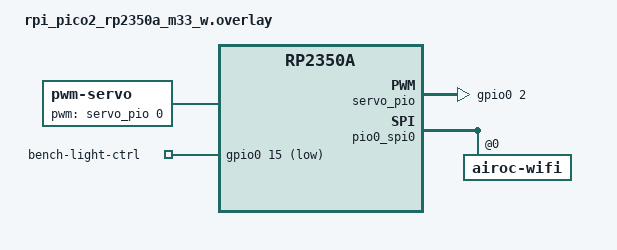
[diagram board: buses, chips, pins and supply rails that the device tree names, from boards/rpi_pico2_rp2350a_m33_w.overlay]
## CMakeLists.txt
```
# SPDX-License-Identifier: Apache-2.0
cmake_minimum_required(VERSION 3.20.0)

find_package(Zephyr REQUIRED HINTS $ENV{ZEPHYR_BASE})
project(auto-damper)

FILE(GLOB_RECURSE app_sources src/*.c)
target_sources(app PRIVATE ${app_sources})
target_include_directories(app PRIVATE include)

# Linker section for HTTP resources
zephyr_linker_sources(SECTIONS sections-rom.ld)

# Web resources (gzip-compressed, embedded in firmware)
set(WEB_DIR ${CMAKE_CURRENT_SOURCE_DIR}/web)
set(GEN_DIR ${ZEPHYR_BINARY_DIR}/include/generated/)

# index.html — always revalidated (references hashed assets)
if(EXISTS ${WEB_DIR}/index.html)
  generate_inc_file_for_target(app
    ${WEB_DIR}/index.html ${GEN_DIR}/index.html.gz.inc --gzip)
  target_compile_definitions(app PRIVATE HAS_INDEX_HTML=1)
else()
  target_compile_definitions(app PRIVATE HAS_INDEX_HTML=0)
endif()

# Hashed assets — glob web/assets/ and generate inc files + manifest
file(GLOB WEB_ASSETS ${WEB_DIR}/assets/*)

set(ASSET_MANIFEST "")
set(ASSET_INDEX 0)

foreach(ASSET_FILE ${WEB_ASSETS})
  get_filename_component(ASSET_NAME ${ASSET_FILE} NAME)
  string(MAKE_C_IDENTIFIER ${ASSET_NAME} ASSET_ID)

  generate_inc_file_for_target(app
    ${ASSET_FILE} ${GEN_DIR}/asset_${ASSET_ID}.gz.inc --gzip)

  string(APPEND ASSET_MANIFEST
    "static const uint8_t asset_${ASSET_ID}_data[] = {\n"
    "#include \"asset_${ASSET_ID}.gz.inc\"\n"
    "};\n\n")

  # Determine content type from extension
  get_filename_component(ASSET_EXT ${ASSET_FILE} LAST_EXT)
  if(ASSET_EXT STREQUAL ".js")
    set(CONTENT_TYPE "application/javascript")
  elseif(ASSET_EXT STREQUAL ".css")
    set(CONTENT_TYPE "text/css")
  elseif(ASSET_EXT STREQUAL ".svg")
    set(CONTENT_TYPE "image/svg+xml")
  elseif(ASSET_EXT STREQUAL ".ico")
    set(CONTENT_TYPE "image/x-icon")
  elseif(ASSET_EXT STREQUAL ".woff2")
    set(CONTENT_TYPE "font/woff2")
  else()
    set(CONTENT_TYPE "application/octet-stream")
  endif()

  string(APPEND ASSET_ENTRIES
    "  { \"/assets/${ASSET_NAME}\", asset_${ASSET_ID}_data, sizeof(asset_${ASSET_ID}_data), \"${CONTENT_TYPE}\" },\n")

  math(EXPR ASSET_INDEX "${ASSET_INDEX} + 1")
endforeach()

# Generate the asset manifest header
file(WRITE ${GEN_DIR}/web_assets.h
  "/* Auto-generated — do not edit */\n"
  "#ifndef WEB_ASSETS_H\n"
  "#define WEB_ASSETS_H\n\n"
  "#include <stdint.h>\n"
  "#include <stddef.h>\n\n"
  "struct web_asset {\n"
  "  const char *path;\n"
  "  const uint8_t *data;\n"
  "  size_t len;\n"
  "  const char *content_type;\n"
  "};\n\n"
  "${ASSET_MANIFEST}"
  "static const struct web_asset web_assets[] = {\n"
  "${ASSET_ENTRIES}"
  "};\n\n"
  "#endif\n")

target_compile_definitions(app PRIVATE WEB_ASSET_COUNT=${ASSET_INDEX})

# MCUboot bootutil_public library — provides boot_set_pending /
# boot_write_img_confirmed / boot_is_img_confirmed for the OTA shell
# command and the runtime confirm logic in Phase 5. The library is
# created by bootloader/mcuboot/boot/bootutil/zephyr/CMakeLists.txt
# when CONFIG_MCUBOOT_BOOTUTIL_LIB=y.
if(CONFIG_MCUBOOT_BOOTUTIL_LIB)
  target_link_libraries(app PRIVATE MCUBOOT_BOOTUTIL)
endif()
```

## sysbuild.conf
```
# Enable MCUboot as a partner image. west build --sysbuild will build
# MCUboot alongside the application, sign the application image with
# imgtool, and produce signed.bin + signed.confirmed.bin for the
# initial USB/probe flash.
SB_CONFIG_BOOTLOADER_MCUBOOT=y

# Sign the application with the ed25519 key in keys/. The same PEM
# file is consumed by both imgtool (private half, for signing) and
# the MCUboot build (public half, baked into the bootloader as the
# trusted verifier key).
#
# ${WEST_TOPDIR} is expanded by MCUboot's CMakeLists via
# string(CONFIGURE) and resolves to the west workspace root on any
# host (local dev, CI runner, anyone's machine). MCUboot's per-image
# APPLICATION_CONFIG_DIR is its own source tree, not the app's, so a
# bare relative path wouldn't find our keys/ dir.
SB_CONFIG_BOOT_SIGNATURE_KEY_FILE="${WEST_TOPDIR}/apps/auto-damper/keys/root-ed25519.pem"
SB_CONFIG_BOOT_SIGNATURE_TYPE_ED25519=y
```

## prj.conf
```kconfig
# SPDX-License-Identifier: Apache-2.0

# Hardware
CONFIG_GPIO=y
CONFIG_PWM=y
CONFIG_PIO_RPI_PICO=y

# Serial
CONFIG_SERIAL=y

# Shell
CONFIG_SHELL=y
CONFIG_KERNEL_SHELL=y

# State machine framework
CONFIG_SMF=y

# Logging
CONFIG_LOG=y
CONFIG_SHELL_LOG_BACKEND=y
CONFIG_LOG_RUNTIME_FILTERING=y
CONFIG_LOG_DEFAULT_LEVEL=3

# zbus
CONFIG_ZBUS=y
CONFIG_ZBUS_CHANNEL_NAME=y
CONFIG_ZBUS_OBSERVER_NAME=y
CONFIG_ZBUS_MSG_SUBSCRIBER=y
CONFIG_HEAP_MEM_POOL_SIZE=65536
CONFIG_ZBUS_MSG_SUBSCRIBER_NET_BUF_POOL_SIZE=16

# MCUboot — bootloader-aware. Image header offset and the
# bootutil public library (boot_set_pending / boot_write_img_confirmed /
# boot_is_img_confirmed) are required for swap requests and confirm.
CONFIG_BOOTLOADER_MCUBOOT=y
CONFIG_MCUBOOT_BOOTLOADER_MODE_SWAP_USING_OFFSET=y
CONFIG_MCUBOOT_BOOTUTIL_LIB=y
# Produce zephyr.signed.confirmed.{bin,hex} — same as signed.* but
# with the MCUboot trailer pre-marked as confirmed. This is what we
# flash to slot0 on initial provisioning so MCUboot recognizes the
# slot as valid and boots it cleanly (without it, "magic=unset" and
# MCUboot reports "Boot source: none").
CONFIG_MCUBOOT_GENERATE_CONFIRMED_IMAGE=y
# bootutil_public uses flash_area_* — needs the flash map subsystem.
CONFIG_FLASH_MAP=y
CONFIG_STREAM_FLASH=y

# Reboot — needed by the ota shell command after marking the swap.
CONFIG_REBOOT=y

# OTA: raw TLS socket for fetching signed images from GitHub Releases.
# Image authenticity comes from MCUboot's ed25519 signature verification;
# TLS just protects against connection hijacking during the download
# (we use TLS_PEER_VERIFY_NONE). We avoid http_client because its recv
# buffer compaction makes capturing the Location header from a redirect
# response unreliable — see samples/net/sockets/big_http_download.
CONFIG_NET_SOCKETS_SOCKOPT_TLS=y
CONFIG_NET_SOCKETS_TLS_MAX_CONTEXTS=2
# No session caching — we make one TLS connection per OTA op. Without
# this, sockets_tls references mbedtls_ssl_{get,set}_session which
# require MBEDTLS_SSL_SESSION_TICKETS (extra flash for no benefit).
CONFIG_NET_SOCKETS_TLS_MAX_CLIENT_SESSION_COUNT=0
CONFIG_NET_SOCKETS_TLS_MAX_SESSION_CONTEXTS=2
CONFIG_TLS_CREDENTIALS=y
CONFIG_MBEDTLS=y
CONFIG_MBEDTLS_BUILTIN=y
CONFIG_MBEDTLS_ENABLE_HEAP=y
CONFIG_MBEDTLS_HEAP_SIZE=65536
CONFIG_MBEDTLS_SSL_MAX_CONTENT_LEN=16384
# Pull in actual TLS protocol support (Kconfig MBEDTLS_TLS_VERSION_1_2
# is deprecated; PROTO_TLS1_2 is the canonical one that gates the
# MBEDTLS_SSL_CLI_C symbols sockets_tls relies on).
CONFIG_MBEDTLS_SSL_PROTO_TLS1_2=y
# Cipher suites GitHub and its CDN (objects.githubusercontent.com)
# negotiate. ECDHE-ECDSA for the github.com edge (ECDSA P-256 cert),
# ECDHE-RSA as a fallback if the CDN uses RSA leaf certs.
CONFIG_MBEDTLS_CIPHERSUITE_TLS_ECDHE_ECDSA_WITH_AES_128_GCM_SHA256=y
CONFIG_MBEDTLS_CIPHERSUITE_TLS_ECDHE_RSA_WITH_AES_128_GCM_SHA256=y
# DFU image manager streams writes into slot1 with progressive erase.
CONFIG_IMG_MANAGER=y
CONFIG_IMG_ERASE_PROGRESSIVELY=y
# DNS resolver — needed to resolve github.com / objects.githubusercontent.com.
CONFIG_DNS_RESOLVER=y
CONFIG_DNS_RESOLVER_AUTO_INIT=y
CONFIG_DNS_SERVER_IP_ADDRESSES=y
CONFIG_DNS_SERVER1="1.1.1.1"
CONFIG_DNS_SERVER2="8.8.8.8"

# Bluetooth
CONFIG_BT=y
CONFIG_BT_CENTRAL=y
CONFIG_BT_GATT_CLIENT=y
CONFIG_BT_GATT_AUTO_DISCOVER_CCC=y
CONFIG_BT_DEVICE_NAME="auto-damper"
CONFIG_BT_MAX_CONN=10
CONFIG_BT_LOG_LEVEL_INF=y

# CYW43439 BT shared-bus patches + Pico SDK firmware blobs
CONFIG_ZEPHYR_CYW43_BT=y

# BT buffers — shared-bus transport is slower than UART, need more headroom
CONFIG_BT_L2CAP_TX_BUF_COUNT=12
CONFIG_BT_BUF_ACL_TX_COUNT=12
CONFIG_BT_BUF_ACL_RX_COUNT_EXTRA=8
CONFIG_BT_BUF_EVT_RX_COUNT=16
CONFIG_BT_BUF_ACL_RX_SIZE=200

# Flash Storage
CONFIG_FLASH=y

# NVS for persistent config
CONFIG_NVS=y
CONFIG_NVS_DATA_CRC=y

# Networking
CONFIG_NETWORKING=y
CONFIG_NET_IPV4=y
CONFIG_NET_IPV6=n
CONFIG_NET_TCP=y
CONFIG_NET_SOCKETS=y
CONFIG_POSIX_API=y
CONFIG_NET_DHCPV4=y
CONFIG_TEST_RANDOM_GENERATOR=y

# Stack Sizes (WiFi + HTTP need more)
CONFIG_MAIN_STACK_SIZE=5200
CONFIG_SHELL_STACK_SIZE=8192
# OTA over HTTPS needs more headroom — mbedTLS handshake + http_client
# response callbacks consume significant stack inside the shell thread.
CONFIG_LOG_PROCESS_THREAD_STACK_SIZE=4096
CONFIG_NET_TX_STACK_SIZE=2048
CONFIG_NET_RX_STACK_SIZE=2048

# Network Buffers
# Bumped from 16 / 128 to give headroom against slow leaks. The
# Zephyr netstack has a known bug (upstream issue #95456, PR #95742
# in main but not backported to our 4.4.0) where TCP contexts hold
# on to RX packets under connection churn. Larger pools push the
# exhaustion point out from days to weeks while we chase the
# specific leaker.
CONFIG_NET_PKT_RX_COUNT=32
CONFIG_NET_PKT_TX_COUNT=32
CONFIG_NET_BUF_RX_COUNT=256
CONFIG_NET_BUF_TX_COUNT=256

# Instrumentation so `net mem` shows live pool utilization. Without
# CONFIG_NET_BUF_POOL_USAGE the shell just prints "enable X" when
# queried. NET_STATISTICS and NET_DEBUG_NET_PKT_ALLOC would give
# richer info but push the image over the 832 KB slot0 (~2 KB
# overflow observed). POOL_USAGE alone is enough to spot the RX
# pool draining if we watch it over time.
CONFIG_NET_BUF_POOL_USAGE=y
CONFIG_NET_CONTEXT_NET_PKT_POOL=y
CONFIG_NET_MAX_CONTEXTS=32
CONFIG_NET_MAX_CONN=32
# Free closed TCP contexts immediately instead of holding them in
# TIME_WAIT for 2*MSL — otherwise the small context pool exhausts under
# normal browser load (6 parallel asset fetches + WS).
CONFIG_NET_TCP_TIME_WAIT_DELAY=0

# WiFi
CONFIG_WIFI=y
CONFIG_WIFI_LOG_LEVEL_ERR=y
CONFIG_NET_L2_WIFI_MGMT=y
CONFIG_NET_L2_WIFI_SHELL=y
CONFIG_NET_MGMT=y
CONFIG_NET_MGMT_EVENT=y
CONFIG_NET_MGMT_EVENT_INFO=y
CONFIG_NET_MGMT_EVENT_QUEUE_SIZE=16
CONFIG_NET_MGMT_EVENT_QUEUE_TIMEOUT=5000
CONFIG_NET_CONNECTION_MANAGER=y

# Hostname + mDNS
CONFIG_NET_HOSTNAME_ENABLE=y
CONFIG_NET_HOSTNAME_DYNAMIC=y
CONFIG_NET_HOSTNAME="auto-damper"
CONFIG_NET_HOSTNAME_MAX_LEN=63
CONFIG_MDNS_RESPONDER=y

# Hardware Info (for unique hostname suffix)
CONFIG_HWINFO=y

# Network debug
CONFIG_NET_SHELL=y
CONFIG_NET_LOG=y

# HTTP Server
CONFIG_HTTP_PARSER=y
CONFIG_HTTP_PARSER_URL=y
CONFIG_HTTP_SERVER=y
CONFIG_HTTP_SERVER_MAX_CLIENTS=8
CONFIG_HTTP_SERVER_STACK_SIZE=4096
CONFIG_HTTP_SERVER_MAX_URL_LENGTH=128
CONFIG_HTTP_SERVER_RESOURCE_WILDCARD=y
CONFIG_HTTP_SERVER_WEBSOCKET=y
CONFIG_WEBSOCKET_MAX_CONTEXTS=4

# POSIX File Descriptors
CONFIG_ZVFS_OPEN_MAX=24
CONFIG_ZVFS_POLL_MAX=16
CONFIG_EVENTFD=y
CONFIG_ZVFS_EVENTFD_MAX=4
```

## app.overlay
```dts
/* SPDX-License-Identifier: Apache-2.0 */

#include <raspberrypi/partitions_4M_storage.dtsi>
#include <zephyr/dt-bindings/pwm/pwm.h>

/ {
	servo: servo {
		compatible = "pwm-servo";
		pwms = <&pwm 2 20000000 PWM_POLARITY_NORMAL>;
		min-pulse = <500000>;
		max-pulse = <2500000>;
	};
};

&pinctrl {
	pwm_servo_default: pwm_servo_default {
		group1 {
			pinmux = <PWM_1A_P2>;
		};
	};

	spi0_max6675: spi0_max6675 {
		group1 {
			pinmux = <SPI0_SCK_P18>, <SPI0_TX_P19>;
		};
		group2 {
			pinmux = <SPI0_RX_P16>;
			input-enable;
		};
	};
};

&pwm {
	pinctrl-0 = <&pwm_servo_default>;
	pinctrl-names = "default";
	status = "okay";
};

&spi0 {
	status = "okay";
	pinctrl-0 = <&spi0_max6675>;
	pinctrl-names = "default";
	cs-gpios = <&gpio0 17 GPIO_ACTIVE_LOW>;

	max6675: max6675@0 {
		compatible = "maxim,max6675";
		reg = <0>;
		spi-max-frequency = <4300000>;
	};
};
```

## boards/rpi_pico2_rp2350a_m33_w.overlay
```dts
/* SPDX-License-Identifier: Apache-2.0 */

/* MCUboot partition layout: 64KB bootloader + 832KB primary slot +
 * 832KB secondary slot + 2.3MB storage. Defined upstream by Beechwoods
 * for sysbuild flows. */
#include <raspberrypi/partitions_4M_sysbuild.dtsi>
#include <zephyr/dt-bindings/gpio/gpio.h>

/ {
	chosen {
		zephyr,bt-hci = &bt_hci;
		/* Link the auto-damper application into slot0 (image-0).
		 * Without this, Zephyr defaults to FLASH_LOAD_OFFSET=0 which
		 * positions the image at the bottom of flash (where MCUboot
		 * lives). The MCUboot-aware sysbuild partition table omits
		 * code_partition entirely, so we must point at the slot
		 * explicitly. */
		zephyr,code-partition = &slot0_partition;
	};

	servo: servo {
		compatible = "pwm-servo";
		pwms = <&servo_pio 0 20000000 0>;
		min-pulse = <500000>;
		max-pulse = <2500000>;
	};

	/* Light control line on GP15. GPIO in / out (not PWM) because the
	 * strip's on-board driver IC decodes button-press pulse widths on
	 * a single wire, not raw PWM. Input mode = sniff the OEM
	 * controller's output. Output mode = replay pulses to drive the
	 * strip directly.
	 *
	 * ACTIVE_LOW is the semantic match: the wire idles HIGH, and a
	 * "button press" is a LOW pulse. `gpio_pin_set(1)` = press,
	 * `gpio_pin_set(0)` = release. */
	lights {
		compatible = "gpio-leds";
		bench_light: bench_light {
			gpios = <&gpio0 15 GPIO_ACTIVE_LOW>;
			label = "bench-light-ctrl";
		};
	};
};

&pio1 {
	status = "okay";

	servo_pio: servo-pwm {
		compatible = "raspberrypi,pico-pwm-servo-pio";
		gpios = <&gpio0 2 GPIO_ACTIVE_HIGH>;
		#pwm-cells = <3>;
		status = "okay";
	};
};

&pio0_spi0 {
	airoc-wifi@0 {
		bt_hci: bt-hci {
			compatible = "infineon,cyw43-bt-hci-sbus";
			status = "okay";
		};
	};
};
```

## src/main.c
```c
// SPDX-License-Identifier: Apache-2.0

#include <zephyr/kernel.h>
#include <zephyr/device.h>
#include <zephyr/drivers/pwm.h>
#include <zephyr/logging/log.h>
#include <zephyr/zbus/zbus.h>

#include <auto_damper/config.h>
#include <auto_damper/damper.h>
#include <auto_damper/zbus.h>

LOG_MODULE_REGISTER(main, LOG_LEVEL_INF);

//////////////////////////////////////////////////////////////
// Hardware Devices
//////////////////////////////////////////////////////////////

static const struct pwm_dt_spec servo =
    PWM_DT_SPEC_GET(DT_NODELABEL(servo));

//////////////////////////////////////////////////////////////
// Forward Declarations
//////////////////////////////////////////////////////////////

extern void damper_thread(void *, void *, void *);

//////////////////////////////////////////////////////////////
// Thread: Damper Controller
//////////////////////////////////////////////////////////////

#define DAMPER_STACK_SIZE 4096
#define DAMPER_PRIORITY 4

K_THREAD_DEFINE(damper_thread_id, DAMPER_STACK_SIZE,
                damper_thread, NULL, NULL, NULL,
                DAMPER_PRIORITY, 0, 0);

//////////////////////////////////////////////////////////////
// Servo Helpers
//////////////////////////////////////////////////////////////

static uint32_t degrees_to_pulse_ns(double degrees)
{
  struct servo_config *cfg = servo_config_get();

  double fraction = degrees / cfg->max_deg;
  double pulse_us = cfg->min_us +
                    fraction * (cfg->max_us - cfg->min_us);

  return (uint32_t)(pulse_us * 1000);
}

int servo_set_degrees(double degrees)
{
  uint32_t pulse_ns = degrees_to_pulse_ns(degrees);
  return pwm_set_pulse_dt(&servo, pulse_ns);
}

int servo_init(void)
{
  if (!pwm_is_ready_dt(&servo)) {
    LOG_ERR("Servo PWM not ready");
    return -ENODEV;
  }
  LOG_INF("Servo initialized");
  return 0;
}

int main(void)
{
  int rc = config_init();
  if (rc) {
    LOG_ERR("Config init failed: %d", rc);
  }

  struct heater_command cmd = {.type = HEATER_CMD_SCAN, .scan_timeout = 5};
  zbus_chan_pub(&heater_command_chan, &cmd, K_MSEC(500));

  return 0;
}
```

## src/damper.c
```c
// SPDX-License-Identifier: Apache-2.0

#include <zephyr/kernel.h>
#include <zephyr/logging/log.h>
#include <zephyr/smf.h>
#include <zephyr/zbus/zbus.h>

#include <auto_damper/config.h>
#include <auto_damper/damper.h>
#include <auto_damper/zbus.h>

LOG_MODULE_REGISTER(damper, LOG_LEVEL_INF);

//////////////////////////////////////////////////////////////
// Config
//////////////////////////////////////////////////////////////

#define NVS_ID_SERVO_CONFIG  0x0030
#define NVS_TYPE_SERVO       0x0030
#define NVS_ID_DAMPER_CONFIG 0x0040
#define NVS_TYPE_DAMPER      0x0040
#define DAMPER_CONFIG_VERSION 2

static struct servo_config servo_cfg = {
    .min_us = 500,
    .max_us = 2500,
    .max_deg = 270.0,
};

static struct damper_config damper_cfg = {
    /* Both default to 0 so the servo stays put on first boot before
     * the user has configured per-installation angles. Driving to
     * 270 against an unaligned diverter linkage can stall the servo
     * or stress the mechanism. */
    .inside_angle = 0.0,
    .outside_angle = 0.0,
    .core_threshold = 150.0,
    .heater_name = "",
    .cool_setpoint = 25.0,
    .cool_hysteresis = 4.0,
};

struct servo_config *servo_config_get(void)
{
  return &servo_cfg;
}

int servo_config_save(void)
{
  return config_save(NVS_ID_SERVO_CONFIG, NVS_TYPE_SERVO, 1,
                     &servo_cfg, sizeof(servo_cfg));
}

int servo_config_load(void)
{
  uint16_t version;
  return config_load(NVS_ID_SERVO_CONFIG, NVS_TYPE_SERVO,
                     &version, &servo_cfg, sizeof(servo_cfg));
}

struct damper_config *damper_config_get(void)
{
  return &damper_cfg;
}

int damper_config_save(void)
{
  return config_save(NVS_ID_DAMPER_CONFIG, NVS_TYPE_DAMPER,
                     DAMPER_CONFIG_VERSION,
                     &damper_cfg, sizeof(damper_cfg));
}

int damper_config_load(void)
{
  uint16_t version;
  return config_load(NVS_ID_DAMPER_CONFIG, NVS_TYPE_DAMPER,
                     &version, &damper_cfg, sizeof(damper_cfg));
}

//////////////////////////////////////////////////////////////
// State Machine Context
//////////////////////////////////////////////////////////////

enum damper_state {
  DAMPER_STATE_AUTO,
  DAMPER_STATE_MANUAL,
  DAMPER_STATE_HEATING,
  DAMPER_STATE_COOLING,
};

struct damper_ctx {
  struct smf_ctx ctx;
  double current_angle;
  enum damper_mode mode;
  enum damper_route route;
  bool cooling_active;
};

static struct damper_ctx s;
static K_MUTEX_DEFINE(damper_mutex);
static volatile int config_result;

#define LOOP_SLEEP K_MSEC(250)
#define MUTEX_WAIT K_FOREVER

extern int servo_set_degrees(double degrees);
extern int servo_init(void);

//////////////////////////////////////////////////////////////
// Forward Declarations
//////////////////////////////////////////////////////////////

static const struct smf_state states[];

//////////////////////////////////////////////////////////////
// Helper: Publish Damper State
//////////////////////////////////////////////////////////////

static void publish_damper_data(void)
{
  struct damper_data data = {
      .mode = s.mode,
      .route = s.route,
      .angle = s.current_angle,
      .inside_angle = damper_cfg.inside_angle,
      .outside_angle = damper_cfg.outside_angle,
      .core_threshold = damper_cfg.core_threshold,
      .cool_setpoint = damper_cfg.cool_setpoint,
      .cool_hysteresis = damper_cfg.cool_hysteresis,
      .timestamp_us = k_ticks_to_us_ceil64(k_uptime_ticks()),
  };
  memcpy(data.heater_name, damper_cfg.heater_name,
         sizeof(data.heater_name));
  zbus_chan_pub(&damper_data_chan, &data, K_MSEC(100));
}

//////////////////////////////////////////////////////////////
// Helper: Move Servo
//////////////////////////////////////////////////////////////

static void move_to_angle(double angle)
{
  if (angle == s.current_angle) {
    return;
  }

  int ret = servo_set_degrees(angle);
  if (ret < 0) {
    LOG_ERR("Failed to set servo: %d", ret);
    return;
  }

  s.current_angle = angle;
  LOG_INF("Servo: %.1f deg", angle);
  publish_damper_data();
}

static void route_to(enum damper_route route)
{
  double angle = (route == DAMPER_ROUTE_INSIDE)
      ? damper_cfg.inside_angle
      : damper_cfg.outside_angle;

  if (s.route != route) {
    s.route = route;
    LOG_INF("Route: %s", route == DAMPER_ROUTE_INSIDE ? "INSIDE" : "OUTSIDE");
  }

  move_to_angle(angle);
}

//////////////////////////////////////////////////////////////
// Helper: Send Heater Commands
//////////////////////////////////////////////////////////////

static void send_heater_mode(enum heater_run_mode mode)
{
  struct heater_command cmd = {.type = HEATER_CMD_SET_MODE, .mode = mode};
  zbus_chan_pub(&heater_command_chan, &cmd, K_MSEC(100));
}

static void send_heater_power(bool on)
{
  struct heater_command cmd = {.type = HEATER_CMD_POWER, .power_on = on};
  zbus_chan_pub(&heater_command_chan, &cmd, K_MSEC(100));
}

//////////////////////////////////////////////////////////////
// Helper: Read Heater State
//////////////////////////////////////////////////////////////

static bool get_heater_state(struct heater_data *hdata)
{
  struct heater_states states;
  zbus_chan_read(&heater_states_chan, &states, K_NO_WAIT);

  for (int i = 0; i < states.count && i < HEATERS_MAX; i++) {
    if (states.heaters[i].connected &&
        strcmp(states.heaters[i].name, damper_cfg.heater_name) == 0) {
      *hdata = states.heaters[i];
      return true;
    }
  }
  return false;
}

//////////////////////////////////////////////////////////////
// Heating Logic (shared by AUTO and HEATING modes)
//////////////////////////////////////////////////////////////

static void heating_run_logic(struct heater_data *hdata)
{
  bool should_route_inside =
      hdata->core_temp_c > damper_cfg.core_threshold &&
      hdata->ambient_temp_c < (double)hdata->target_temp;

  if (should_route_inside) {
    route_to(DAMPER_ROUTE_INSIDE);
  } else {
    route_to(DAMPER_ROUTE_OUTSIDE);
  }
}

//////////////////////////////////////////////////////////////
// State: AUTO (combines heating + cooling)
//////////////////////////////////////////////////////////////

static void auto_entry(void *ctx)
{
  struct damper_ctx *d = ctx;
  d->mode = DAMPER_MODE_AUTO;
  d->route = DAMPER_ROUTE_OUTSIDE;
  d->cooling_active = false;
  LOG_INF("Mode: AUTO");
  route_to(DAMPER_ROUTE_OUTSIDE);
  publish_damper_data();
}

static enum smf_state_result auto_run(void *ctx)
{
  struct damper_ctx *d = ctx;

  if (damper_cfg.heater_name[0] == '\0') {
    return SMF_EVENT_HANDLED;
  }

  struct heater_data hdata;
  if (!get_heater_state(&hdata)) {
    route_to(DAMPER_ROUTE_OUTSIDE);
    d->cooling_active = false;
    return SMF_EVENT_HANDLED;
  }

  if (d->cooling_active) {
    if (hdata.ambient_temp_c <
        damper_cfg.cool_setpoint - damper_cfg.cool_hysteresis) {
      LOG_INF("Auto: cooling complete, ambient %.1f < %.1f",
              hdata.ambient_temp_c,
              damper_cfg.cool_setpoint - damper_cfg.cool_hysteresis);
      d->cooling_active = false;
      route_to(DAMPER_ROUTE_OUTSIDE);
      send_heater_power(false);
    } else {
      route_to(DAMPER_ROUTE_INSIDE);
    }
  } else {
    if (hdata.mode == HEATER_MODE_FAN &&
        hdata.power != HEATER_POWER_OFF &&
        hdata.ambient_temp_c >=
            damper_cfg.cool_setpoint - damper_cfg.cool_hysteresis) {
      LOG_INF("Auto: cooling resumed, fan already running, ambient %.1f",
              hdata.ambient_temp_c);
      d->cooling_active = true;
      route_to(DAMPER_ROUTE_INSIDE);
    } else if (hdata.power == HEATER_POWER_OFF &&
               hdata.ambient_temp_c >= damper_cfg.cool_setpoint) {
      LOG_INF("Auto: cooling started, ambient %.1f >= %.1f",
              hdata.ambient_temp_c, damper_cfg.cool_setpoint);
      d->cooling_active = true;
      send_heater_mode(HEATER_MODE_FAN);
      route_to(DAMPER_ROUTE_INSIDE);
    } else {
      heating_run_logic(&hdata);
    }
  }

  return SMF_EVENT_HANDLED;
}

//////////////////////////////////////////////////////////////
// State: MANUAL
//////////////////////////////////////////////////////////////

static void manual_entry(void *ctx)
{
  struct damper_ctx *d = ctx;
  d->mode = DAMPER_MODE_MANUAL;
  LOG_INF("Mode: MANUAL");
  publish_damper_data();
}

static enum smf_state_result manual_run(void *ctx)
{
  ARG_UNUSED(ctx);
  return SMF_EVENT_HANDLED;
}

//////////////////////////////////////////////////////////////
// State: HEATING (dedicated heating-only mode)
//////////////////////////////////////////////////////////////

static void heating_entry(void *ctx)
{
  struct damper_ctx *d = ctx;
  d->mode = DAMPER_MODE_HEATING;
  d->route = DAMPER_ROUTE_OUTSIDE;
  LOG_INF("Mode: HEATING");
  route_to(DAMPER_ROUTE_OUTSIDE);
  publish_damper_data();
}

static enum smf_state_result heating_run(void *ctx)
{
  ARG_UNUSED(ctx);

  if (damper_cfg.heater_name[0] == '\0') {
    return SMF_EVENT_HANDLED;
  }

  struct heater_data hdata;
  if (!get_heater_state(&hdata)) {
    route_to(DAMPER_ROUTE_OUTSIDE);
    return SMF_EVENT_HANDLED;
  }

  heating_run_logic(&hdata);
  return SMF_EVENT_HANDLED;
}

//////////////////////////////////////////////////////////////
// State: COOLING (fan mode ventilation)
//////////////////////////////////////////////////////////////

static void cooling_entry(void *ctx)
{
  struct damper_ctx *d = ctx;
  d->mode = DAMPER_MODE_COOLING;
  d->route = DAMPER_ROUTE_OUTSIDE;
  d->cooling_active = false;
  LOG_INF("Mode: COOLING");
  route_to(DAMPER_ROUTE_OUTSIDE);
  publish_damper_data();
}

static enum smf_state_result cooling_run(void *ctx)
{
  struct damper_ctx *d = ctx;

  if (damper_cfg.heater_name[0] == '\0') {
    return SMF_EVENT_HANDLED;
  }

  struct heater_data hdata;
  if (!get_heater_state(&hdata)) {
    route_to(DAMPER_ROUTE_OUTSIDE);
    d->cooling_active = false;
    return SMF_EVENT_HANDLED;
  }

  if (d->cooling_active) {
    if (hdata.ambient_temp_c <
        damper_cfg.cool_setpoint - damper_cfg.cool_hysteresis) {
      LOG_INF("Cooling complete, ambient %.1f < %.1f",
              hdata.ambient_temp_c,
              damper_cfg.cool_setpoint - damper_cfg.cool_hysteresis);
      d->cooling_active = false;
      route_to(DAMPER_ROUTE_OUTSIDE);
      send_heater_power(false);
    }
  } else {
    if (hdata.mode == HEATER_MODE_FAN &&
        hdata.power != HEATER_POWER_OFF &&
        hdata.ambient_temp_c >=
            damper_cfg.cool_setpoint - damper_cfg.cool_hysteresis) {
      LOG_INF("Cooling resumed, fan already running, ambient %.1f",
              hdata.ambient_temp_c);
      d->cooling_active = true;
      route_to(DAMPER_ROUTE_INSIDE);
    } else if (hdata.ambient_temp_c >= damper_cfg.cool_setpoint) {
      LOG_INF("Cooling started, ambient %.1f >= %.1f",
              hdata.ambient_temp_c, damper_cfg.cool_setpoint);
      d->cooling_active = true;
      send_heater_mode(HEATER_MODE_FAN);
      route_to(DAMPER_ROUTE_INSIDE);
    }
  }

  return SMF_EVENT_HANDLED;
}

//////////////////////////////////////////////////////////////
// State Table
//////////////////////////////////////////////////////////////

static const struct smf_state states[] = {
    [DAMPER_STATE_AUTO] =
        SMF_CREATE_STATE(auto_entry, auto_run, NULL, NULL, NULL),
    [DAMPER_STATE_MANUAL] =
        SMF_CREATE_STATE(manual_entry, manual_run, NULL, NULL, NULL),
    [DAMPER_STATE_HEATING] =
        SMF_CREATE_STATE(heating_entry, heating_run, NULL, NULL, NULL),
    [DAMPER_STATE_COOLING] =
        SMF_CREATE_STATE(cooling_entry, cooling_run, NULL, NULL, NULL),
};

static enum damper_state mode_to_state(enum damper_mode mode)
{
  switch (mode) {
  case DAMPER_MODE_AUTO: return DAMPER_STATE_AUTO;
  case DAMPER_MODE_HEATING: return DAMPER_STATE_HEATING;
  case DAMPER_MODE_COOLING: return DAMPER_STATE_COOLING;
  case DAMPER_MODE_MANUAL:
  default: return DAMPER_STATE_MANUAL;
  }
}

//////////////////////////////////////////////////////////////
// Zbus Listener: Command Handler
//////////////////////////////////////////////////////////////

static void command_callback(const struct zbus_channel *chan)
{
  const struct damper_command *cmd = zbus_chan_const_msg(chan);

  k_mutex_lock(&damper_mutex, MUTEX_WAIT);

  config_result = 0;

  switch (cmd->type) {
  case DAMPER_CMD_SET_MODE:
    smf_set_state(SMF_CTX(&s), &states[mode_to_state(cmd->mode)]);
    break;

  case DAMPER_CMD_SET_ANGLE:
    smf_set_state(SMF_CTX(&s), &states[DAMPER_STATE_MANUAL]);
    move_to_angle(cmd->angle);
    break;

  case DAMPER_CMD_SET_CONFIG:
    damper_cfg.inside_angle = cmd->inside_angle;
    damper_cfg.outside_angle = cmd->outside_angle;
    damper_cfg.core_threshold = cmd->core_threshold;
    damper_cfg.cool_setpoint = cmd->cool_setpoint;
    damper_cfg.cool_hysteresis = cmd->cool_hysteresis;
    config_result = damper_config_save();
    if (config_result == 0) {
      LOG_INF("Config: inside=%.1f outside=%.1f threshold=%.1f "
              "cool=%.1f hyst=%.1f",
              damper_cfg.inside_angle, damper_cfg.outside_angle,
              damper_cfg.core_threshold, damper_cfg.cool_setpoint,
              damper_cfg.cool_hysteresis);
    }
    publish_damper_data();
    break;

  case DAMPER_CMD_SET_HEATER:
    memcpy(damper_cfg.heater_name, cmd->heater_name,
           sizeof(damper_cfg.heater_name));
    damper_cfg.heater_name[sizeof(damper_cfg.heater_name) - 1] = '\0';
    config_result = damper_config_save();
    if (config_result == 0) {
      LOG_INF("Heater: %s",
              damper_cfg.heater_name[0] ? damper_cfg.heater_name : "(none)");
    }
    publish_damper_data();
    break;
  }

  k_mutex_unlock(&damper_mutex);
}

int damper_last_config_result(void)
{
  return config_result;
}

ZBUS_LISTENER_DEFINE(damper_cmd_listener, command_callback);

ZBUS_CHAN_DEFINE(damper_command_chan,
                struct damper_command,
                NULL, NULL,
                ZBUS_OBSERVERS(damper_cmd_listener),
                ZBUS_MSG_INIT(.type = DAMPER_CMD_SET_MODE,
                              .mode = DAMPER_MODE_AUTO));

ZBUS_CHAN_DEFINE(damper_data_chan,
                struct damper_data,
                NULL, NULL,
                ZBUS_OBSERVERS_EMPTY,
                ZBUS_MSG_INIT(.mode = DAMPER_MODE_AUTO,
                              .route = DAMPER_ROUTE_OUTSIDE,
                              .angle = 0.0,
                              .timestamp_us = 0));

//////////////////////////////////////////////////////////////
// Thread Entry Point
//////////////////////////////////////////////////////////////

void damper_thread(void *p1, void *p2, void *p3)
{
  ARG_UNUSED(p1);
  ARG_UNUSED(p2);
  ARG_UNUSED(p3);

  int ret = servo_init();
  if (ret < 0) {
    LOG_ERR("Servo init failed, damper disabled");
    return;
  }

  if (config_exists(NVS_ID_SERVO_CONFIG) > 0) {
    servo_config_load();
  }

  if (config_exists(NVS_ID_DAMPER_CONFIG) > 0) {
    damper_config_load();
    LOG_INF("Loaded config: inside=%.1f outside=%.1f threshold=%.1f "
            "cool=%.1f hyst=%.1f heater=%s",
            damper_cfg.inside_angle, damper_cfg.outside_angle,
            damper_cfg.core_threshold,
            damper_cfg.cool_setpoint, damper_cfg.cool_hysteresis,
            damper_cfg.heater_name[0] ? damper_cfg.heater_name : "(none)");
  }

  servo_set_degrees(damper_cfg.outside_angle);
  s.current_angle = damper_cfg.outside_angle;
  s.route = DAMPER_ROUTE_OUTSIDE;
  smf_set_initial(SMF_CTX(&s), &states[DAMPER_STATE_AUTO]);

  LOG_INF("Damper controller started");

  int res = 0;
  while (res == 0) {
    k_mutex_lock(&damper_mutex, MUTEX_WAIT);
    res = smf_run_state(SMF_CTX(&s));
    k_mutex_unlock(&damper_mutex);
    k_sleep(LOOP_SLEEP);
  }

  LOG_ERR("State machine terminated: %d", res);
}
```

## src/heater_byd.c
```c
// SPDX-License-Identifier: Apache-2.0

#include <string.h>
#include <zephyr/kernel.h>

#include <auto_damper/heater.h>

//////////////////////////////////////////////////////////////
// Config
//////////////////////////////////////////////////////////////

static uint16_t passkey = 1234;

void heater_byd_set_passkey(uint16_t key)
{
  passkey = key;
}

//////////////////////////////////////////////////////////////
// Match
//////////////////////////////////////////////////////////////

static bool byd_match(const char *name)
{
  return strncmp(name, "BYD-", 4) == 0;
}

//////////////////////////////////////////////////////////////
// XOR Decryption (V2)
//////////////////////////////////////////////////////////////

static void xor_decrypt(uint8_t *buf, size_t len)
{
  static const uint8_t key[] = "password";

  for (size_t i = 0; i < len; i++) {
    buf[i] ^= key[i % 8];
  }
}

//////////////////////////////////////////////////////////////
// Decode
//////////////////////////////////////////////////////////////

static void decode_power(uint8_t val, struct heater_data *data)
{
  switch (val) {
  case 1:
    data->power = HEATER_POWER_STARTING;
    break;
  case 2:
    data->power = HEATER_POWER_RUNNING;
    break;
  case 3:
    data->power = HEATER_POWER_SHUTTING_DOWN;
    break;
  default:
    data->power = HEATER_POWER_OFF;
    break;
  }
}

static void decode_step(uint8_t val, struct heater_data *data)
{
  switch (val) {
  case 1:
    data->step = HEATER_STEP_SELF_CHECK;
    break;
  case 2:
    data->step = HEATER_STEP_PREHEAT;
    break;
  case 3:
    data->step = HEATER_STEP_HEATING;
    break;
  case 4:
    data->step = HEATER_STEP_COOLING;
    break;
  default:
    data->step = HEATER_STEP_IDLE;
    break;
  }
}

static int byd_decode(const uint8_t *buf, size_t len, struct heater_data *data)
{
  if (len < 2) {
    return -EINVAL;
  }

  uint8_t tmp[48];
  bool v2 = false;

  if (buf[0] == 0xAA && (buf[1] == 0x55 || buf[1] == 0x66)) {
    if (len < 18) {
      return -EINVAL;
    }
    memcpy(tmp, buf, MIN(len, sizeof(tmp)));
  } else {
    if (len > sizeof(tmp)) {
      return -EINVAL;
    }
    memcpy(tmp, buf, len);
    xor_decrypt(tmp, len);
    if (tmp[0] != 0xAA || (tmp[1] != 0x55 && tmp[1] != 0x66)) {
      return -EPROTO;
    }
    v2 = true;
  }

  decode_power(tmp[3], data);
  decode_step(tmp[5], data);

  if (tmp[3] != 0) {
    uint8_t run_mode = tmp[8];
    if (run_mode >= 1 && run_mode <= 3) {
      data->mode = (enum heater_run_mode)run_mode;
    }

    if (run_mode == 1) {
      data->power_level = tmp[9];
    } else {
      data->target_temp = tmp[9];
      data->power_level = tmp[10] + 1;
    }
  } else {
    data->target_temp = tmp[9];
    data->power_level = tmp[10];
  }

  if (!v2) {
    data->voltage = (double)((tmp[12] << 8) | tmp[11]) / 10.0;
    data->core_temp_c = (double)(int16_t)((tmp[14] << 8) | tmp[13]);
    data->ambient_temp_c = (double)(int16_t)((tmp[16] << 8) | tmp[15]);
    data->error_code = (tmp[1] == 0x66) ? tmp[17] : tmp[4];
  } else if (len >= 36) {
    data->voltage = (double)((tmp[11] << 8) | tmp[12]) / 10.0;
    data->core_temp_c = (double)(int16_t)((tmp[13] << 8) | tmp[14]);
    data->ambient_temp_c = (double)(int16_t)((tmp[32] << 8) | tmp[33]) / 10.0;
    data->error_code = (tmp[1] == 0x66) ? tmp[35] : tmp[4];
  }

  data->connected = true;
  return 0;
}

//////////////////////////////////////////////////////////////
// Encode Helpers
//////////////////////////////////////////////////////////////

static void byd_frame(uint8_t *buf, uint8_t cmd, uint8_t data_lo,
                      uint8_t data_hi)
{
  buf[0] = 0xAA;
  buf[1] = 0x55;
  buf[2] = passkey / 100;
  buf[3] = passkey % 100;
  buf[4] = cmd;
  buf[5] = data_lo;
  buf[6] = data_hi;
  buf[7] = (buf[2] + buf[3] + buf[4] + buf[5] + buf[6]) & 0xFF;
}

static int byd_encode_ping(uint8_t *buf, size_t len)
{
  if (len < 8) {
    return -ENOMEM;
  }
  byd_frame(buf, 0x01, 0x00, 0x00);
  return 8;
}

static int byd_encode_power(uint8_t *buf, size_t len, bool on)
{
  if (len < 8) {
    return -ENOMEM;
  }
  byd_frame(buf, 0x03, on ? 0x01 : 0x00, 0x00);
  return 8;
}

static int byd_encode_set_temp(uint8_t *buf, size_t len, int temp_c)
{
  if (len < 8) {
    return -ENOMEM;
  }
  byd_frame(buf, 0x04, temp_c & 0xFF, (temp_c >> 8) & 0xFF);
  return 8;
}

static int byd_encode_set_mode(uint8_t *buf, size_t len,
                               enum heater_run_mode mode)
{
  if (len < 8) {
    return -ENOMEM;
  }
  byd_frame(buf, 0x02, (uint8_t)mode, 0x00);
  return 8;
}

//////////////////////////////////////////////////////////////
// Protocol Definition
//////////////////////////////////////////////////////////////

const struct heater_protocol heater_protocol_byd = {
    .name = "byd",
    .match = byd_match,
    .service_uuid = 0xFFE0,
    .write_char_uuid = 0xFFE1,
    .notify_char_uuid = 0xFFE1,
    .heartbeat_ms = 2500,
    .decode = byd_decode,
    .encode_ping = byd_encode_ping,
    .encode_power = byd_encode_power,
    .encode_set_temp = byd_encode_set_temp,
    .encode_set_mode = byd_encode_set_mode,
};
```

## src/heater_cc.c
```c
// SPDX-License-Identifier: Apache-2.0

#include <string.h>
#include <zephyr/kernel.h>

#include <auto_damper/heater.h>

//////////////////////////////////////////////////////////////
// Match
//////////////////////////////////////////////////////////////

static bool cc_match(const char *name)
{
  return strstr(name, "Heater") != NULL;
}

//////////////////////////////////////////////////////////////
// Checksum
//////////////////////////////////////////////////////////////

static uint8_t cc_checksum(const uint8_t *buf, size_t len)
{
  uint8_t sum = 0;

  for (size_t i = 0; i < len; i++) {
    sum += buf[i];
  }
  return sum;
}

//////////////////////////////////////////////////////////////
// Decode
//////////////////////////////////////////////////////////////

static int cc_decode(const uint8_t *buf, size_t len, struct heater_data *data)
{
  if (len < 8) {
    return -EINVAL;
  }
  if (buf[0] != 0xAB || buf[1] != 0xBA) {
    return -EPROTO;
  }
  if (buf[3] == 0xDC) {
    data->startup_offset = buf[4];
    data->shutdown_offset = buf[5];
    return 0;
  }
  if (buf[3] != 0xCC) {
    return -EPROTO;
  }
  if (len < 19) {
    return -EINVAL;
  }

  switch (buf[4]) {
  case 0x01:
    data->power = HEATER_POWER_RUNNING;
    data->step = HEATER_STEP_HEATING;
    break;
  case 0x02:
    data->power = HEATER_POWER_SHUTTING_DOWN;
    data->step = HEATER_STEP_COOLING;
    break;
  case 0x04:
    data->power = HEATER_POWER_RUNNING;
    data->mode = HEATER_MODE_FAN;
    data->step = HEATER_STEP_BLOWING;
    break;
  case 0x06:
    data->power = HEATER_POWER_RUNNING;
    data->step = HEATER_STEP_IDLE;
    break;
  default:
    data->power = HEATER_POWER_OFF;
    data->step = HEATER_STEP_IDLE;
    break;
  }

  if (buf[4] != 0x04) {
    switch (buf[5]) {
    case 0x00:
      data->mode = HEATER_MODE_MANUAL;
      break;
    case 0x01:
      data->mode = HEATER_MODE_AUTOMATIC;
      break;
    case 0xFF:
      data->error_code = buf[6];
      break;
    }
  }

  if (buf[5] != 0xFF) {
    data->error_code = 0;
    data->power_level = buf[6];
    data->target_temp = buf[6];
  }
  data->voltage = (double)buf[9];
  data->ambient_temp_c = (double)buf[11] - 30.0;
  data->core_temp_c = (double)((buf[12] << 8) | buf[13]);
  data->altitude_mode = (buf[15] == 0x01);
  data->connected = true;

  return 0;
}

//////////////////////////////////////////////////////////////
// Encode
//////////////////////////////////////////////////////////////

static int cc_encode_ping(uint8_t *buf, size_t len)
{
  if (len < 8) {
    return -ENOMEM;
  }
  uint8_t cmd[] = {0xBA, 0xAB, 0x04, 0xCC, 0x00, 0x00, 0x00};

  memcpy(buf, cmd, 7);
  buf[7] = cc_checksum(buf, 7);
  return 8;
}

static void cc_cmd(uint8_t *buf, uint8_t b3, uint8_t b4)
{
  buf[0] = 0xBA;
  buf[1] = 0xAB;
  buf[2] = 0x04;
  buf[3] = b3;
  buf[4] = b4;
  buf[5] = 0x00;
  buf[6] = 0x00;
  buf[7] = cc_checksum(buf, 7);
}

static int cc_encode_power(uint8_t *buf, size_t len, bool on)
{
  if (len < 8) {
    return -ENOMEM;
  }

  /* 0xA1 is a heating toggle - starts heating when off, stops when
     heating. For fan mode, caller must use encode_set_mode(FAN)
     to send the blowing toggle 0xA4 instead. */
  cc_cmd(buf, 0xBB, 0xA1);
  return 8;
}

static int cc_encode_set_temp(uint8_t *buf, size_t len, int temp_c)
{
  (void)buf;
  (void)len;
  (void)temp_c;
  return -ENOTSUP;
}

static int cc_encode_set_mode(uint8_t *buf, size_t len,
                              enum heater_run_mode mode)
{
  if (len < 8) {
    return -ENOMEM;
  }

  switch (mode) {
  case HEATER_MODE_MANUAL:
    cc_cmd(buf, 0xBB, 0xAC);
    break;
  case HEATER_MODE_AUTOMATIC:
    cc_cmd(buf, 0xBB, 0xAD);
    break;
  case HEATER_MODE_FAN:
    cc_cmd(buf, 0xBB, 0xA4);
    break;
  default:
    return -EINVAL;
  }
  return 8;
}

static int cc_encode_adjust_power(uint8_t *buf, size_t len, int delta)
{
  if (len < 8) {
    return -ENOMEM;
  }
  cc_cmd(buf, 0xBB, delta > 0 ? 0xA2 : 0xA3);
  return 8;
}

static int cc_encode_altitude(uint8_t *buf, size_t len)
{
  if (len < 8) {
    return -ENOMEM;
  }
  cc_cmd(buf, 0xBB, 0xA5);
  return 8;
}

static int cc_encode_set_auto_offsets(uint8_t *buf, size_t len,
                                      int startup, int shutdown)
{
  if (len < 8) {
    return -ENOMEM;
  }
  buf[0] = 0xBA;
  buf[1] = 0xAB;
  buf[2] = 0x04;
  buf[3] = 0xDA;
  buf[4] = (uint8_t)startup;
  buf[5] = (uint8_t)shutdown;
  buf[6] = 0x00;
  buf[7] = cc_checksum(buf, 7);
  return 8;
}

static int cc_encode_query_auto_offsets(uint8_t *buf, size_t len)
{
  if (len < 8) {
    return -ENOMEM;
  }
  uint8_t cmd[] = {0xBA, 0xAB, 0x04, 0xDC, 0x00, 0x00, 0x00};

  memcpy(buf, cmd, 7);
  buf[7] = cc_checksum(buf, 7);
  return 8;
}

//////////////////////////////////////////////////////////////
// Protocol Definition
//////////////////////////////////////////////////////////////

const struct heater_protocol heater_protocol_cc = {
    .name = "cc",
    .match = cc_match,
    .service_uuid = 0xFFF0,
    .write_char_uuid = 0xFFF2,
    .notify_char_uuid = 0,
    .heartbeat_ms = 2000,
    .decode = cc_decode,
    .encode_ping = cc_encode_ping,
    .encode_power = cc_encode_power,
    .encode_set_temp = cc_encode_set_temp,
    .encode_set_mode = cc_encode_set_mode,
    .encode_adjust_power = cc_encode_adjust_power,
    .encode_altitude = cc_encode_altitude,
    .encode_set_auto_offsets = cc_encode_set_auto_offsets,
    .encode_query_auto_offsets = cc_encode_query_auto_offsets,
};
```

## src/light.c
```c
/* SPDX-License-Identifier: Apache-2.0 */

// Includes
#include <errno.h>
#include <string.h>

#include <zephyr/device.h>
#include <zephyr/drivers/gpio.h>
#include <zephyr/kernel.h>
#include <zephyr/logging/log.h>
#include <zephyr/sys/atomic.h>

#include <auto_damper/light.h>

LOG_MODULE_REGISTER(light, LOG_LEVEL_INF);

//////////////////////////////////////////////////////////////
// Config
//////////////////////////////////////////////////////////////

/* Ring buffer sized to hold every edge from a couple of button-press
 * sequences without wrapping. Each event is ~12 bytes; 512 events is
 * ~6KB, cheap and covers a lot of button mashing. */
#define SNIFF_BUF_SIZE 512

/* Automated geometric sweep - matches the widths the research report
 * suggested for identifying button-press pulse widths. */
static const uint32_t sweep_widths_ms[] = {
    10, 20, 40, 80, 160, 320, 640, 1280, 2000,
};
#define SWEEP_GAP_MS 2000

/* Polling-mode sniff: the edge-interrupt approach dropped events
 * (only 7 of 20 expected edges captured for 10 button taps) AND the
 * gpio_pin_get_raw() readback lies on RP2350 in this Zephyr build
 * (returns the OUT register, not the actual pad state). Polling with
 * a direct SIO register read fixes both.
 *
 * 200us poll period = 5 kHz. Well below the shortest observed pulse
 * (~250 ms) but still low CPU load (a single-word memory read
 * per iteration). */
#define POLL_PERIOD_US 200

/* Direct read of the RP2350 SIO GPIO_IN register - authoritative
 * for the real pad state, independent of Zephyr's GPIO driver
 * quirks. GP0-31 map to bits 0-31. */
#define RP2350_SIO_GPIO_IN (*(volatile uint32_t *)0xD0000004U)

//////////////////////////////////////////////////////////////
// State
//////////////////////////////////////////////////////////////

static const struct gpio_dt_spec bench_gpio =
    GPIO_DT_SPEC_GET(DT_NODELABEL(bench_light), gpios);

enum pin_mode {
  MODE_OUTPUT,
  MODE_SNIFF,
};
static enum pin_mode current_mode = MODE_OUTPUT;

static struct light_sniff_event sniff_buf[SNIFF_BUF_SIZE];
static atomic_t sniff_head; /* monotonic write index */
static atomic_t sniff_tail; /* monotonic read index */

//////////////////////////////////////////////////////////////
// Forward Declarations
//////////////////////////////////////////////////////////////

static int enter_output_mode(void);
static int enter_sniff_mode(void);
static bool read_pad(void);

//////////////////////////////////////////////////////////////
// Public API
//////////////////////////////////////////////////////////////

int light_bench_high(void)
{
  int rc = enter_output_mode();
  if (rc) return rc;
  /* "Inactive" per the ACTIVE_LOW binding = HIGH on the wire. */
  return gpio_pin_set_dt(&bench_gpio, 0);
}

int light_bench_low(void)
{
  int rc = enter_output_mode();
  if (rc) return rc;
  return gpio_pin_set_dt(&bench_gpio, 1);
}

int light_bench_pulse(uint32_t ms)
{
  int rc = enter_output_mode();
  if (rc) return rc;
  rc = gpio_pin_set_dt(&bench_gpio, 1);
  if (rc) return rc;
  k_msleep(ms);
  return gpio_pin_set_dt(&bench_gpio, 0);
}

int light_bench_sweep(void)
{
  int rc = enter_output_mode();
  if (rc) return rc;
  /* Idle HIGH before the first pulse. */
  rc = gpio_pin_set_dt(&bench_gpio, 0);
  if (rc) return rc;

  for (size_t i = 0; i < ARRAY_SIZE(sweep_widths_ms); i++) {
    k_msleep(SWEEP_GAP_MS);
    LOG_INF("sweep: pulse %u ms", sweep_widths_ms[i]);
    rc = light_bench_pulse(sweep_widths_ms[i]);
    if (rc) return rc;
  }
  k_msleep(SWEEP_GAP_MS);
  LOG_INF("sweep: done");
  return 0;
}

int light_bench_sniff_start(void)
{
  atomic_set(&sniff_head, 0);
  atomic_set(&sniff_tail, 0);
  return enter_sniff_mode();
}

int light_bench_sniff_stop(void)
{
  return enter_output_mode();
}

size_t light_bench_sniff_drain(struct light_sniff_event *out,
                              size_t max_events)
{
  atomic_val_t head = atomic_get(&sniff_head);
  atomic_val_t tail = atomic_get(&sniff_tail);
  size_t available = (size_t)(head - tail);
  size_t to_copy = (available < max_events) ? available : max_events;

  for (size_t i = 0; i < to_copy; i++) {
    out[i] = sniff_buf[(tail + i) % SNIFF_BUF_SIZE];
  }
  atomic_set(&sniff_tail, tail + to_copy);
  return to_copy;
}

const char *light_bench_state_str(void)
{
  /* Read via SIO register - Zephyr's gpio_pin_get_raw() is unreliable
   * on RP2350 in this build (returns cached OUT rather than pad IN),
   * which was the source of the misleading "always LOW" reports we
   * saw during output-mode testing. */
  bool high = read_pad();
  if (current_mode == MODE_OUTPUT) {
    return high ? "output / HIGH (idle)" : "output / LOW (holding press)";
  }
  return high ? "sniff / idle-HIGH" : "sniff / idle-LOW";
}

//////////////////////////////////////////////////////////////
// Init Functions
//////////////////////////////////////////////////////////////

static int light_init(void)
{
  if (!gpio_is_ready_dt(&bench_gpio)) {
    LOG_ERR("bench_light GPIO not ready");
    return -ENODEV;
  }
  /* Default: output mode, driving HIGH (idle). Safe for both wiring
   * setups - won't fight the controller even if it's plugged in. */
  return enter_output_mode();
}
SYS_INIT(light_init, APPLICATION, 90);

//////////////////////////////////////////////////////////////
// Helper Functions
//////////////////////////////////////////////////////////////

static bool read_pad(void)
{
  return (RP2350_SIO_GPIO_IN & (1U << bench_gpio.pin)) != 0;
}

static int enter_output_mode(void)
{
  int rc = gpio_pin_configure_dt(&bench_gpio, GPIO_OUTPUT_INACTIVE);
  if (rc) {
    LOG_ERR("configure OUTPUT: %d", rc);
    return rc;
  }
  current_mode = MODE_OUTPUT;
  return 0;
}

static int enter_sniff_mode(void)
{
  int rc = gpio_pin_configure_dt(&bench_gpio, GPIO_INPUT);
  if (rc) {
    LOG_ERR("configure INPUT: %d", rc);
    return rc;
  }
  current_mode = MODE_SNIFF;
  return 0;
}

//////////////////////////////////////////////////////////////
// Sniff polling thread
//
// Polls SIO_GPIO_IN every POLL_PERIOD_US and records every transition
// to the ring buffer. Runs continuously; when the mode isn't SNIFF
// it just waits long enough to check mode again, wasting negligible
// CPU.
//////////////////////////////////////////////////////////////

static void sniff_poll_thread(void *a, void *b, void *c)
{
  ARG_UNUSED(a); ARG_UNUSED(b); ARG_UNUSED(c);
  bool last = read_pad();
  while (1) {
    if (current_mode != MODE_SNIFF) {
      k_sleep(K_MSEC(50));
      last = read_pad();
      continue;
    }
    bool now = read_pad();
    if (now != last) {
      last = now;
      atomic_val_t idx = atomic_inc(&sniff_head);
      sniff_buf[idx % SNIFF_BUF_SIZE] = (struct light_sniff_event){
          .timestamp_us = k_ticks_to_us_floor64(k_uptime_ticks()),
          .level_high = now,
      };
    }
    k_busy_wait(POLL_PERIOD_US);
  }
}

K_THREAD_DEFINE(sniff_tid, 1024, sniff_poll_thread, NULL, NULL, NULL,
                7, 0, 1000);
```
